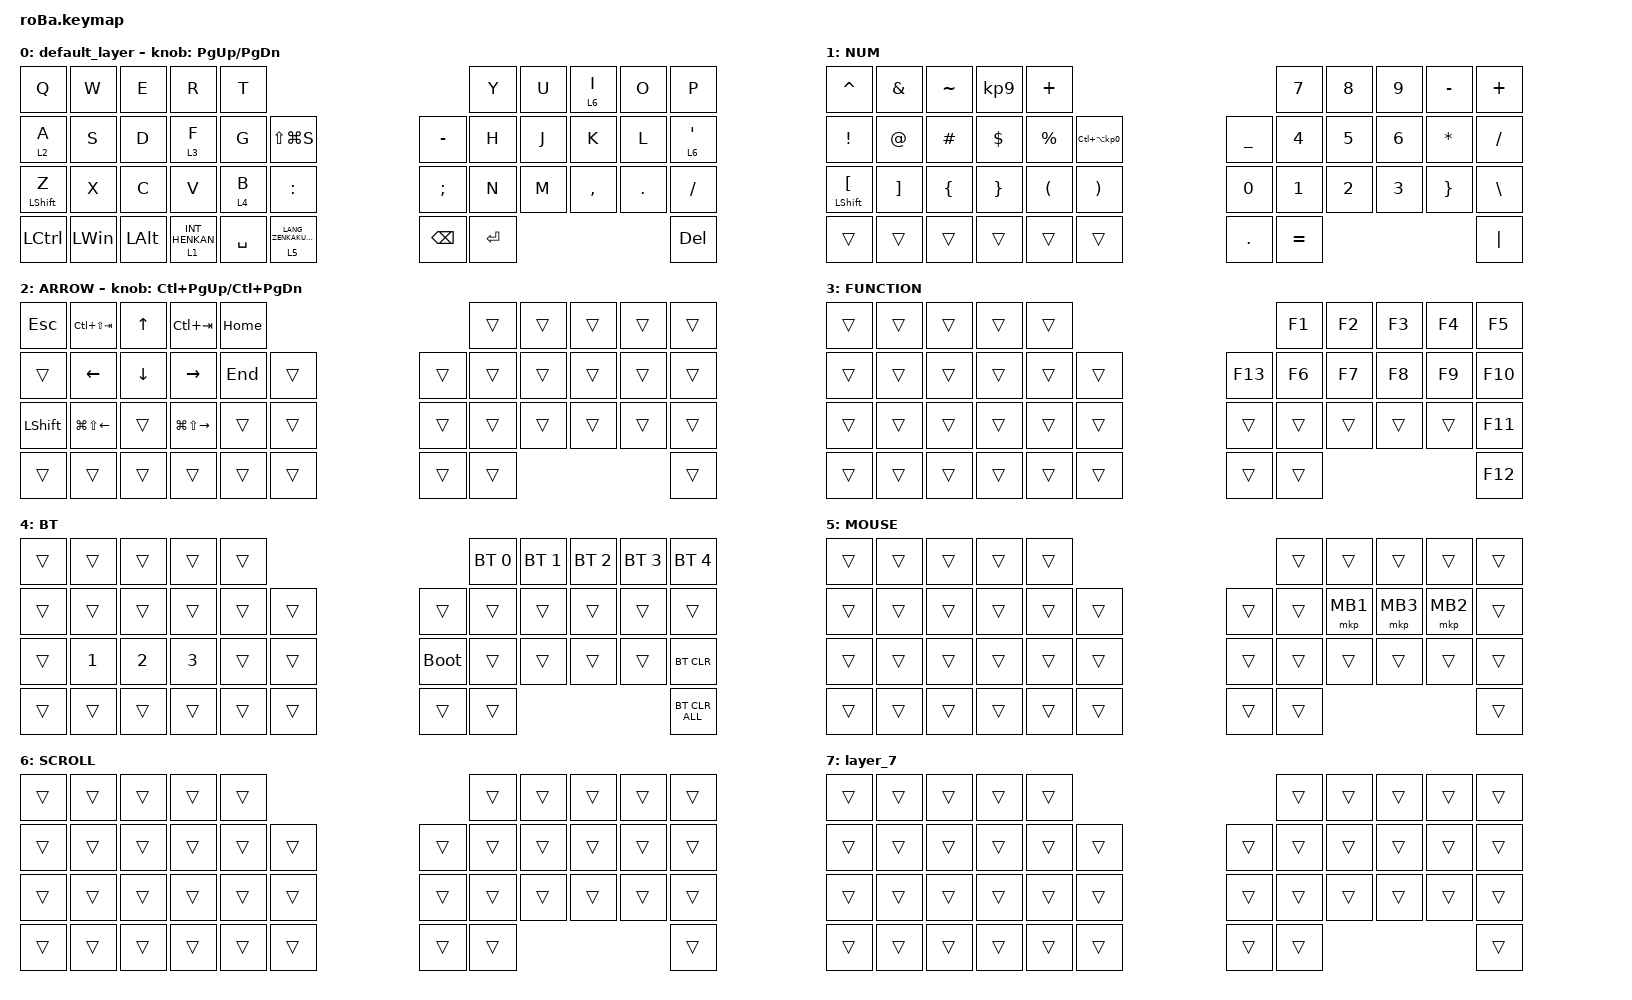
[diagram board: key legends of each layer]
#include <behaviors.dtsi>
#include <dt-bindings/zmk/bt.h>
#include <dt-bindings/zmk/keys.h>
#include <dt-bindings/zmk/pointing.h>

&mt {
    flavor = "balanced";
    quick-tap-ms = <0>;
};

&trackball {
    automouse-layer = <5>;
    scroll-layers = <6>;

    // arrows {
    //     layers = <3>;
    //     bindings =
    //         <&kp RIGHT_ARROW>,
    //         <&kp LEFT_ARROW>,
    //         <&kp UP_ARROW>,
    //         <&kp DOWN_ARROW>;
    //     tick = <10>;
    //     wait-ms = <5>;
    //     tap-ms = <5>;
    // };
};

/ {
    combos {
        compatible = "zmk,combos";

        tab {
            bindings = <&kp TAB>;
            key-positions = <11 12>;
        };

        shift_tab {
            bindings = <&kp LS(TAB)>;
            key-positions = <12 13>;
        };

        double_quotation {
            bindings = <&kp DOUBLE_QUOTES>;
            key-positions = <20 21>;
        };

        globe {
            bindings = <&kp GLOBE>;
            key-positions = <34 22>;
        };

        cst {
            bindings = <&kp LS(RG(T))>;
            key-positions = <4 14>;
        };

        cs4 {
            bindings = <&kp LG(LS(N4))>;
            key-positions = <3 13>;
        };
    };

    macros {
        to_layer_0: to_layer_0 {
            compatible = "zmk,behavior-macro-one-param";
            #binding-cells = <1>;
            bindings = <&to 0 &macro_param_1to1 &kp MACRO_PLACEHOLDER>;
            label = "TO_LAYER_0";
        };
    };

    behaviors {
        lt_to_layer_0: lt_to_layer_0 {
            compatible = "zmk,behavior-hold-tap";
            label = "LAYER_TAP_TO_0";
            bindings = <&mo>, <&to_layer_0>;

            #binding-cells = <2>;
            tapping-term-ms = <200>;
        };
    };

    keymap {
        compatible = "zmk,keymap";

        default_layer {
            bindings = <
&kp Q             &kp W         &kp E         &kp R                        &kp T                                                               &kp Y      &kp U  &lt 6 I    &kp O    &kp P
&lt 2 A           &kp S         &kp D         &lt 3 F                      &kp G      &kp LS(LG(S))                             &kp MINUS      &kp H      &kp J  &kp K      &kp L    &lt 6 SINGLE_QUOTE
&mt LEFT_SHIFT Z  &kp X         &kp C         &kp V                        &lt 4 B    &kp COLON                                 &kp SEMICOLON  &kp N      &kp M  &kp COMMA  &kp DOT  &kp SLASH
&kp LCTRL         &kp LEFT_WIN  &kp LEFT_ALT  &lt_to_layer_0 1 INT_HENKAN  &kp SPACE  &lt_to_layer_0 5 LANG_ZENKAKUHANKAKU      &kp BACKSPACE  &kp ENTER                             &kp DEL
            >;

            sensor-bindings = <&inc_dec_kp PG_UP PAGE_DOWN>;
        };

        NUM {
            bindings = <
&kp CARET                    &kp AMPERSAND      &kp TILDE       &kp KP_NUMBER_9  &kp PLUS                                                           &kp NUMBER_7  &kp N8        &kp N9        &kp MINUS        &kp PLUS
&kp EXCLAMATION              &kp AT_SIGN        &kp HASH        &kp DOLLAR       &kp PERCENT           &kp LC(LA(KP_NUMBER_0))      &kp UNDERSCORE  &kp NUMBER_4  &kp N5        &kp NUMBER_6  &kp ASTERISK     &kp SLASH
&mt LEFT_SHIFT LEFT_BRACKET  &kp RIGHT_BRACKET  &kp LEFT_BRACE  &kp RIGHT_BRACE  &kp LEFT_PARENTHESIS  &kp RIGHT_PARENTHESIS        &kp N0          &kp NUMBER_1  &kp NUMBER_2  &kp NUMBER_3  &kp RIGHT_BRACE  &kp BACKSLASH
&trans                       &trans             &trans          &trans           &trans                &trans                       &kp PERIOD      &kp EQUAL                                                  &kp PIPE
            >;
        };

        ARROW {
            bindings = <
&kp ESCAPE      &kp LC(LS(TAB))         &kp UP_ARROW    &kp LC(TAB)              &kp HOME                      &trans  &trans  &trans  &trans  &trans
&trans          &kp LEFT_ARROW          &kp DOWN_ARROW  &kp RIGHT_ARROW          &kp END   &trans      &trans  &trans  &trans  &trans  &trans  &trans
&kp LEFT_SHIFT  &kp LG(LS(LEFT_ARROW))  &trans          &kp LG(LS(RIGHT_ARROW))  &trans    &trans      &trans  &trans  &trans  &trans  &trans  &trans
&trans          &trans                  &trans          &trans                   &trans    &trans      &trans  &trans                          &trans
            >;

            sensor-bindings = <&inc_dec_kp LC(PAGE_UP) LC(PAGE_DOWN)>;
        };

        FUNCTION {
            bindings = <
&trans  &trans  &trans  &trans  &trans                       &kp F1  &kp F2  &kp F3  &kp F4  &kp F5
&trans  &trans  &trans  &trans  &trans  &trans      &kp F13  &kp F6  &kp F7  &kp F8  &kp F9  &kp F10
&trans  &trans  &trans  &trans  &trans  &trans      &trans   &trans  &trans  &trans  &trans  &kp F11
&trans  &trans  &trans  &trans  &trans  &trans      &trans   &trans                          &kp F12
            >;
        };

        BT {
            bindings = <
&trans  &trans        &trans        &trans        &trans                           &bt BT_SEL 0  &bt BT_SEL 1  &bt BT_SEL 2  &bt BT_SEL 3  &bt BT_SEL 4
&trans  &trans        &trans        &trans        &trans  &trans      &trans       &trans        &trans        &trans        &trans        &trans
&trans  &kp NUMBER_1  &kp NUMBER_2  &kp NUMBER_3  &trans  &trans      &bootloader  &trans        &trans        &trans        &trans        &bt BT_CLR
&trans  &trans        &trans        &trans        &trans  &trans      &trans       &trans                                                  &bt BT_CLR_ALL
            >;
        };

        MOUSE {
            bindings = <
&trans  &trans  &trans  &trans  &trans                      &trans  &trans    &trans    &trans    &trans
&trans  &trans  &trans  &trans  &trans  &trans      &trans  &trans  &mkp MB1  &mkp MB3  &mkp MB2  &trans
&trans  &trans  &trans  &trans  &trans  &trans      &trans  &trans  &trans    &trans    &trans    &trans
&trans  &trans  &trans  &trans  &trans  &trans      &trans  &trans                                &trans
            >;
        };

        SCROLL {
            bindings = <
&trans  &trans  &trans  &trans  &trans                      &trans  &trans  &trans  &trans  &trans
&trans  &trans  &trans  &trans  &trans  &trans      &trans  &trans  &trans  &trans  &trans  &trans
&trans  &trans  &trans  &trans  &trans  &trans      &trans  &trans  &trans  &trans  &trans  &trans
&trans  &trans  &trans  &trans  &trans  &trans      &trans  &trans                          &trans
            >;
        };

        layer_7 {
            bindings = <
&trans  &trans  &trans  &trans  &trans                      &trans  &trans  &trans  &trans  &trans
&trans  &trans  &trans  &trans  &trans  &trans      &trans  &trans  &trans  &trans  &trans  &trans
&trans  &trans  &trans  &trans  &trans  &trans      &trans  &trans  &trans  &trans  &trans  &trans
&trans  &trans  &trans  &trans  &trans  &trans      &trans  &trans                          &trans
            >;
        };
    };
};
